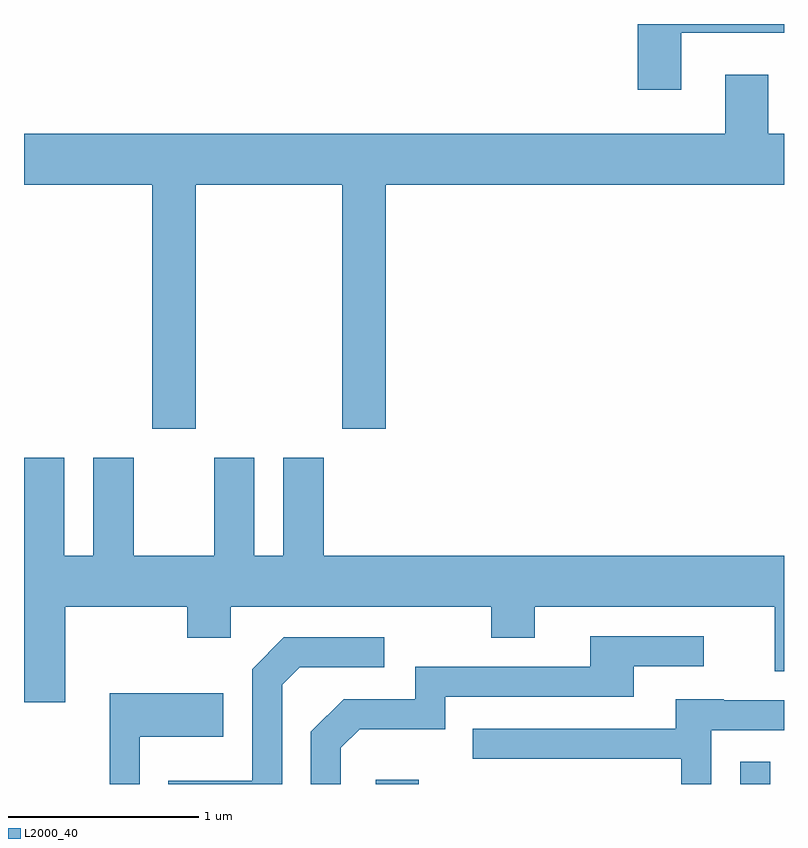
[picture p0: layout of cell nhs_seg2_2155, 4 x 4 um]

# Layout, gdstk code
import gdstk
lib = gdstk.Library(unit=1e-6, precision=1e-09)
def R(c, l, rs):  # rectangles x0, y0, x1, y1
    for r in rs: c.add(gdstk.rectangle(r[:2], r[2:], *l))
def P(c, l, *ps):  # polygons
    for p in ps: c.add(gdstk.Polygon(p, *l))
L2000_40 = (2000, 40)

nhs_seg2_2155 = lib.new_cell('nhs_seg2_2155')
R(nhs_seg2_2155, L2000_40, [(249.461,1071.802,249.689,1071.824), (251.381,1071.802,251.539,1071.918)])
P(nhs_seg2_2155, L2000_40, [(251.069,1075.756),(251.611,1075.756),(251.611,1075.802),(250.841,1075.802),(250.841,1075.456),(251.069,1075.456)],
  [(248.514,1074.956),(249.286,1074.956),(249.286,1073.671),(249.514,1073.671),(249.514,1074.956),(251.611,1074.956),(251.611,1075.224),(251.529,1075.224),(251.529,1075.534),(251.301,1075.534),(251.301,1075.224),(247.611,1075.224),(247.611,1074.956),(248.286,1074.956),(248.286,1073.671),(248.514,1073.671)],
  [(247.829,1072.736),(248.471,1072.736),(248.471,1072.571),(248.699,1072.571),(248.699,1072.736),(250.071,1072.736),(250.071,1072.571),(250.299,1072.571),(250.299,1072.736),(251.561,1072.736),(251.561,1072.396),(251.611,1072.396),(251.611,1073.004),(249.189,1073.004),(249.189,1073.519),(248.976,1073.519),(248.976,1073.004),(248.824,1073.004),(248.824,1073.519),(248.611,1073.519),(248.611,1073.004),(248.189,1073.004),(248.189,1073.519),(247.976,1073.519),(247.976,1073.004),(247.824,1073.004),(247.824,1073.519),(247.611,1073.519),(247.611,1072.231),(247.829,1072.231)],
  [(249.279,1071.994),(249.377,1072.091),(249.829,1072.091),(249.829,1072.261),(250.819,1072.261),(250.819,1072.421),(251.188,1072.421),(251.188,1072.579),(250.591,1072.579),(250.591,1072.419),(249.671,1072.419),(249.671,1072.249),(249.294,1072.249),(249.121,1072.077),(249.121,1071.802),(249.279,1071.802)],
  [(248.969,1072.324),(249.062,1072.416),(249.508,1072.416),(249.508,1072.574),(248.979,1072.574),(248.811,1072.407),(248.811,1071.819),(248.371,1071.819),(248.371,1071.802),(248.969,1071.802)],
  [(248.219,1072.051),(248.659,1072.051),(248.659,1072.279),(248.061,1072.279),(248.061,1071.802),(248.219,1071.802)],
  [(251.229,1072.086),(251.611,1072.086),(251.611,1072.244),(251.295,1072.244),(251.295,1072.249),(251.041,1072.249),(251.041,1072.094),(249.973,1072.094),(249.973,1071.936),(251.071,1071.936),(251.071,1071.802),(251.229,1071.802)])

lib.write_gds('nhs_seg2_2155.gds')
